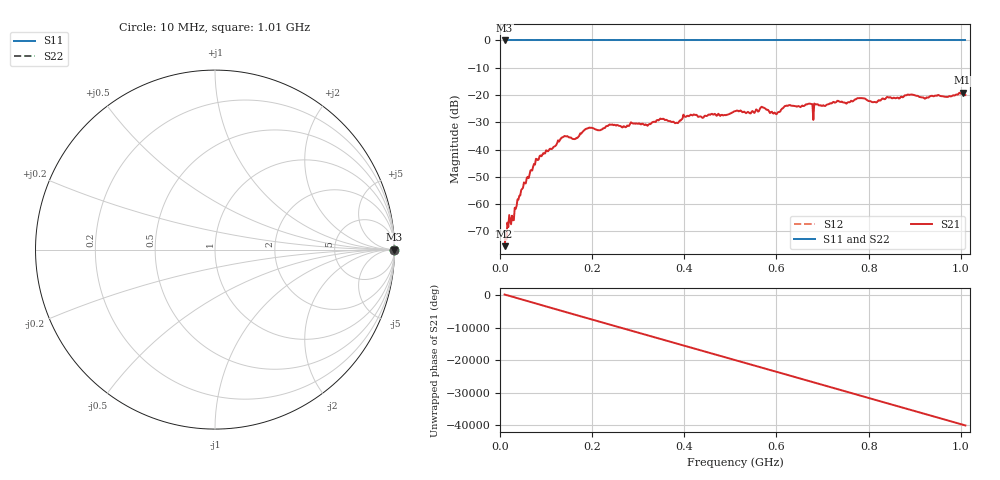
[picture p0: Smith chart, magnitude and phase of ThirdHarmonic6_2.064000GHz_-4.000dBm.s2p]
! 8/17/2025 12:43:40 AM
! C:\ANRITSUVNA\TEMP\TEMP.S2P
! CHANNEL.1
! TR.MEASUREMENT
! RAW.DATA
! RF.CORRECTION.OFF
! AVERAGING.OFF
! IF.BANDWIDTH: 5KHZ
! SWEEPTYPE:  FREQ.SWEEP(Linear)
! Reference Plane Port Info
! PORT:  PORT1  PORT2
! DISTANCE:  0  m  0  m
! TIME:  0  s  0  s
! PHASE.OFFSET:  0  deg.  0  deg.
! LOSS:  0  dB  0  dB
! REF.LOSS:  0  dB  0  dB
! REF.FREQ:  0  Hz  0  Hz
! Power Info
! POWER:  -20  dBm  -20  dBm
! EFF.POWER:  -20  dBm  -20  dBm
! SOURCE.ATTEN:  0  dB  0  dB
! TEST.ATTEN:  0  dB  0  dB
# GHZ S RI R 50.0
! FREQ.GHZ  S11RE  S11IM  S21RE  S21IM  S12RE  S12IM  S22RE  S22IM
!; PortSelection: Port_12
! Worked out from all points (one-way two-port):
!   501 points, 10 MHz to 1.01 GHz, reference 50 ohm
!   highest |S21| = -19.15 dB at 1.004 GHz (marker M1); lowest = -75.4 dB at 10 MHz (marker M2)
!   lowest |S11| = 0.0 dB at 10 MHz (marker M3)
!   |S11| at or under -10 dB: nowhere
!   |S22| runs from 0.0 to 0.0 dB; largest |S21 - S12| = 1.1
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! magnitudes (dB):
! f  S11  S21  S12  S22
! 10 MHz  0.0  -75.4  0.0  0.0
! 20 MHz  0.0  -64.0  0.0  0.0
! 26 MHz  0.0  -64.2  0.0  0.0
! 50 MHz  0.0  -54.0  0.0  0.0
! 76 MHz  0.0  -45.5  0.0  0.0
! 136 MHz  0.0  -35.5  0.0  0.0
! 164 MHz  0.0  -36.1  0.0  0.0
! 178 MHz  0.0  -33.7  0.0  0.0
! 240 MHz  0.0  -30.9  0.0  0.0
! 322 MHz  0.0  -30.9  0.0  0.0
! 344 MHz  0.0  -29.3  0.0  0.0
! 384 MHz  0.0  -30.1  0.0  0.0
! 402 MHz  0.0  -28.0  0.0  0.0
! 510 MHz  0.0  -25.9  0.0  0.0
! 548 MHz  0.0  -25.9  0.0  0.0
! 570 MHz  0.0  -24.6  0.0  0.0
! 596 MHz  0.0  -26.4  0.0  0.0
! 624 MHz  0.0  -24.0  0.0  0.0
! 678 MHz  0.0  -23.4  0.0  0.0
! 844 MHz  0.0  -21.0  0.0  0.0
! 1.004 GHz  0.0  -19.1  0.0  0.0
! 1.01 GHz  0.0  -20.0  0.0  0.0
